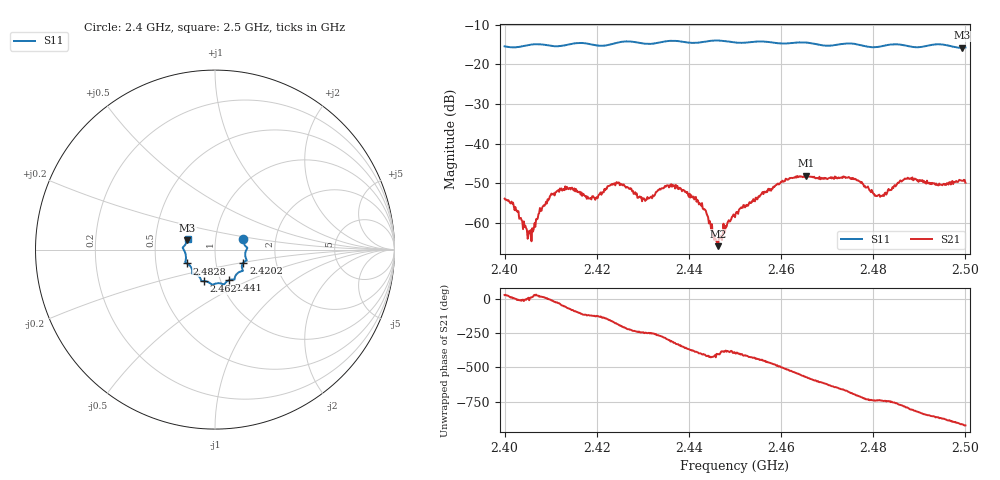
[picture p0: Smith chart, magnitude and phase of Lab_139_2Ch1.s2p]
# Hz S RI R 50
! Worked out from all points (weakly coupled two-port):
!   601 points, 2.4 GHz to 2.5 GHz, reference 50 ohm
!   highest |S21| = -48.05 dB at 2.4653 GHz (marker M1); lowest = -65.9 dB at 2.4463 GHz (marker M2)
!   lowest |S11| = -15.8 dB at 2.4993 GHz (marker M3), VSWR 1.39, Z = 36.5 + j3.9 ohm
!   |S11| at or under -10 dB: start of sweep to end of sweep
!   S12 and S22 are empty: the file has one direction only
!   S11 on the Smith chart (normalised r, x): 2.4 GHz: 1.36, +0.17; 2.4202 GHz: 1.36, -0.20; 2.441 GHz: 1.10, -0.39; 2.462 GHz: 0.83, -0.30; 2.4828 GHz: 0.72, -0.11; 2.5 GHz: 0.73, +0.09
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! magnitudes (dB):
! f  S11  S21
! 2.4 GHz  -15.4  -53.9
! 2.4053 GHz  -15.0  -62.0
! 2.4102 GHz  -15.3  -52.6
! 2.4167 GHz  -14.6  -52.3
! 2.4202 GHz  -15.2  -53.8
! 2.4243 GHz  -14.5  -49.7
! 2.4303 GHz  -14.7  -53.9
! 2.4333 GHz  -14.5  -51.7
! 2.4367 GHz  -14.0  -50.7
! 2.441 GHz  -14.6  -53.4
! 2.4433 GHz  -14.3  -56.5
! 2.4463 GHz  -13.9  -65.9
! 2.45 GHz  -14.4  -58.6
! 2.462 GHz  -14.6  -48.7
! 2.4653 GHz  -14.4  -48.1
! 2.4667 GHz  -14.6  -48.3
! 2.4752 GHz  -14.7  -48.9
! 2.4828 GHz  -15.1  -52.9
! 2.4833 GHz  -15.0  -51.5
! 2.4872 GHz  -15.2  -48.9
! 2.4993 GHz  -15.8  -49.4
! 2.5 GHz  -15.7  -49.9
